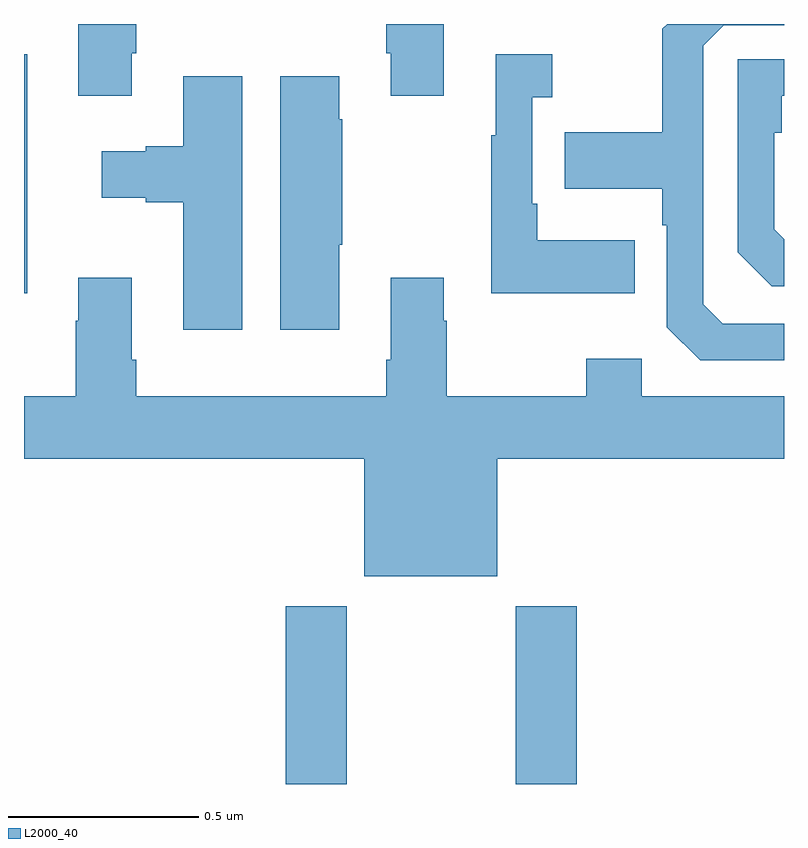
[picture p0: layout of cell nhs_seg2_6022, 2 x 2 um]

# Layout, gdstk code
import gdstk
lib = gdstk.Library(unit=1e-6, precision=1e-09)
def R(c, l, rs):  # rectangles x0, y0, x1, y1
    for r in rs: c.add(gdstk.rectangle(r[:2], r[2:], *l))
def P(c, l, *ps):  # polygons
    for p in ps: c.add(gdstk.Polygon(p, *l))
L2000_40 = (2000, 40)

nhs_seg2_6022 = lib.new_cell('nhs_seg2_6022')
R(nhs_seg2_6022, L2000_40, [(186.689,626.8,186.849,627.268), (187.294,626.8,187.454,627.268), (186,628.091,186.008,628.72)])
P(nhs_seg2_6022, L2000_40, [(186.283,628.723),(186.296,628.723),(186.296,628.8),(186.143,628.8),(186.143,628.611),(186.283,628.611)],
  [(187.105,628.8),(186.953,628.8),(186.953,628.723),(186.965,628.723),(186.965,628.611),(187.105,628.611)],
  [(188,628.011),(187.839,628.011),(187.788,628.062),(187.788,628.743),(187.842,628.797),(188,628.797),(188,628.8),(187.693,628.8),(187.68,628.787),(187.68,628.515),(187.423,628.515),(187.423,628.367),(187.68,628.367),(187.68,628.271),(187.692,628.271),(187.692,628.002),(187.779,627.915),(188,627.915)],
  [(187.607,628.231),(187.351,628.231),(187.351,628.327),(187.338,628.327),(187.338,628.607),(187.39,628.607),(187.39,628.72),(187.241,628.72),(187.241,628.507),(187.23,628.507),(187.23,628.091),(187.607,628.091)],
  [(188,628.234),(187.974,628.26),(187.974,628.514),(187.994,628.514),(187.994,628.611),(188,628.611),(188,628.707),(187.878,628.707),(187.878,628.2),(187.968,628.11),(188,628.11)],
  [(186.574,628.663),(186.419,628.663),(186.419,628.478),(186.32,628.478),(186.32,628.465),(186.204,628.465),(186.204,628.343),(186.32,628.343),(186.32,628.331),(186.419,628.331),(186.419,627.996),(186.574,627.996)],
  [(186.829,628.219),(186.837,628.219),(186.837,628.55),(186.829,628.55),(186.829,628.663),(186.674,628.663),(186.674,627.996),(186.829,627.996)],
  [(187.246,627.656),(188,627.656),(188,627.82),(187.626,627.82),(187.626,627.919),(187.48,627.919),(187.48,627.82),(187.113,627.82),(187.113,628.019),(187.105,628.019),(187.105,628.132),(186.965,628.132),(186.965,627.916),(186.953,627.916),(186.953,627.82),(186.296,627.82),(186.296,627.916),(186.283,627.916),(186.283,628.132),(186.143,628.132),(186.143,628.019),(186.136,628.019),(186.136,627.82),(186,627.82),(186,627.656),(186.896,627.656),(186.896,627.347),(187.246,627.347)])

lib.write_gds('nhs_seg2_6022.gds')
